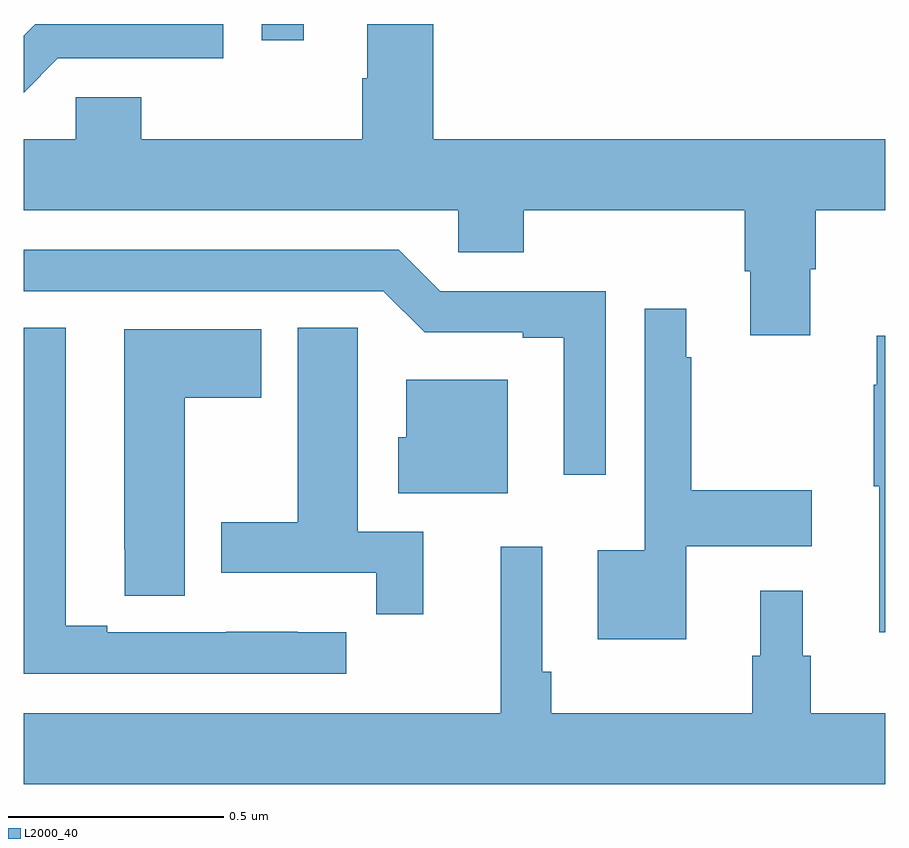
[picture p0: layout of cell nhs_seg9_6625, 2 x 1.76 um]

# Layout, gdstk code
import gdstk
lib = gdstk.Library(unit=1e-6, precision=1e-09)
def R(c, l, rs):  # rectangles x0, y0, x1, y1
    for r in rs: c.add(gdstk.rectangle(r[:2], r[2:], *l))
def P(c, l, *ps):  # polygons
    for p in ps: c.add(gdstk.Polygon(p, *l))
L2000_40 = (2000, 40)

nhs_seg9_6625 = lib.new_cell('nhs_seg9_6625')
R(nhs_seg9_6625, L2000_40, [(194.553,1215.462,194.65,1215.5)])
P(nhs_seg9_6625, L2000_40, [(195.826,1214.931),(195.839,1214.931),(195.839,1215.068),(196,1215.068),(196,1215.232),(194.951,1215.232),(194.951,1215.5),(194.798,1215.5),(194.798,1215.374),(194.786,1215.374),(194.786,1215.232),(194.273,1215.232),(194.273,1215.33),(194.121,1215.33),(194.121,1215.232),(194,1215.232),(194,1215.068),(195.009,1215.068),(195.009,1214.97),(195.161,1214.97),(195.161,1215.068),(195.674,1215.068),(195.674,1214.926),(195.686,1214.926),(195.686,1214.778),(195.826,1214.778)],
  [(194.079,1215.42),(194.463,1215.42),(194.463,1215.5),(194.027,1215.5),(194,1215.473),(194,1215.341)],
  [(195.351,1214.88),(194.967,1214.88),(194.871,1214.976),(194,1214.976),(194,1214.88),(194.835,1214.88),(194.931,1214.784),(195.158,1214.784),(195.158,1214.772),(195.254,1214.772),(195.254,1214.454),(195.351,1214.454)],
  [(195.538,1214.288),(195.829,1214.288),(195.829,1214.418),(195.55,1214.418),(195.55,1214.726),(195.538,1214.726),(195.538,1214.839),(195.441,1214.839),(195.441,1214.278),(195.332,1214.278),(195.332,1214.072),(195.538,1214.072)],
  [(194.749,1214.088),(194.636,1214.088),(194.636,1214.089),(194.47,1214.089),(194.47,1214.088),(194.194,1214.088),(194.194,1214.103),(194.098,1214.103),(194.098,1214.795),(194,1214.795),(194,1213.992),(194.749,1213.992)],
  [(194.927,1214.322),(194.776,1214.322),(194.776,1214.684),(194.775,1214.684),(194.775,1214.795),(194.636,1214.795),(194.636,1214.343),(194.459,1214.343),(194.459,1214.226),(194.818,1214.226),(194.818,1214.13),(194.927,1214.13)],
  [(194.374,1214.632),(194.551,1214.632),(194.551,1214.791),(194.234,1214.791),(194.234,1214.281),(194.235,1214.281),(194.235,1214.173),(194.374,1214.173)],
  [(196,1214.776),(195.98,1214.776),(195.98,1214.663),(195.973,1214.663),(195.973,1214.427),(195.986,1214.427),(195.986,1214.088),(196,1214.088)],
  [(195.124,1214.674),(194.888,1214.674),(194.888,1214.541),(194.87,1214.541),(194.87,1214.411),(195.124,1214.411)],
  [(196,1213.9),(195.827,1213.9),(195.827,1214.034),(195.808,1214.034),(195.808,1214.185),(195.71,1214.185),(195.71,1214.034),(195.691,1214.034),(195.691,1213.9),(195.224,1213.9),(195.224,1213.996),(195.204,1213.996),(195.204,1214.287),(195.107,1214.287),(195.107,1213.9),(194,1213.9),(194,1213.736),(196,1213.736)])

lib.write_gds('nhs_seg9_6625.gds')
